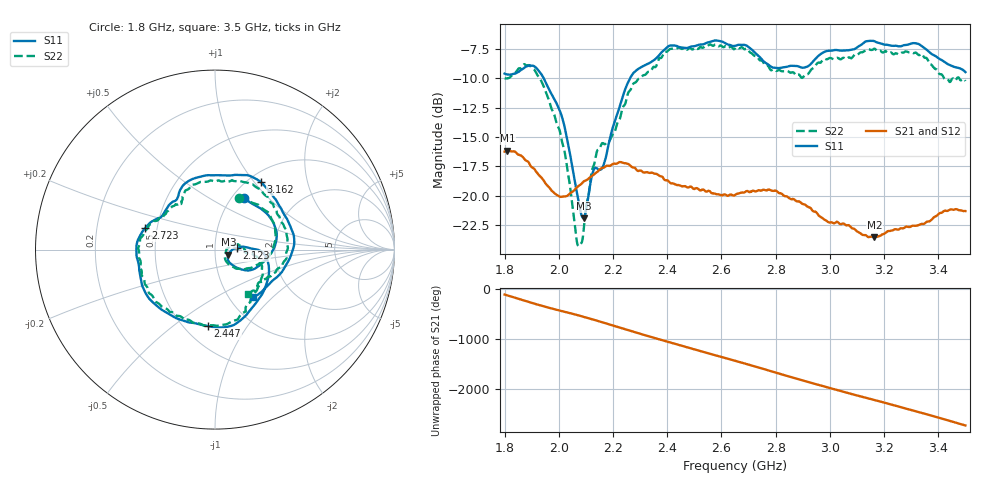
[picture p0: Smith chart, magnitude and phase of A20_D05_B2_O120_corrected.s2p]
! Created with skrf 1.9.0 (http://scikit-rf.org).
# Hz S RI R 50.0
!freq ReS11 ImS11 ReS21 ImS21 ReS12 ImS12 ReS22 ImS22
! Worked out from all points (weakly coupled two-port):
!   1601 points, 1.8 GHz to 3.5 GHz, reference 50 ohm
!   highest |S21| = -16.18 dB at 1.811 GHz (marker M1); lowest = -23.5 dB at 3.164 GHz (marker M2)
!   lowest |S11| = -21.9 dB at 2.091 GHz (marker M3), VSWR 1.17, Z = 58 - j3.33 ohm
!   |S11| at or under -10 dB: 1.944 GHz to 2.263 GHz (318.9 MHz wide, 15.2 % of centre)
!   |S22| runs from -24.3 to -7.1 dB; largest |S21 - S12| = 0.0029
!   S11 on the Smith chart (normalised r, x): 1.8 GHz: 1.13, +0.73; 2.123 GHz: 1.28, +0.02; 2.447 GHz: 0.65, -0.68; 2.723 GHz: 0.43, +0.12; 3.162 GHz: 1.14, +1.08; 3.5 GHz: 1.28, -0.76
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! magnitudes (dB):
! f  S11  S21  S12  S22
! 1.8 GHz  -9.6  -16.2  -16.3  -10.0
! 1.811 GHz  -9.7  -16.2  -16.2  -10.0
! 1.881 GHz  -9.0  -17.0  -17.0  -8.9
! 1.939 GHz  -9.8  -18.5  -18.6  -10.4
! 2.014 GHz  -13.4  -20.1  -20.1  -15.6
! 2.067 GHz  -19.7  -19.3  -19.3  -23.9
! 2.084 GHz  -21.7  -19.0  -18.9  -24.0
! 2.091 GHz  -21.9  -18.8  -18.8  -23.1
! 2.123 GHz  -18.2  -18.3  -18.3  -17.8
! 2.164 GHz  -17.4  -17.6  -17.6  -15.6
! 2.264 GHz  -9.9  -17.5  -17.5  -11.0
! 2.367 GHz  -8.1  -18.2  -18.2  -8.4
! 2.447 GHz  -7.4  -19.1  -19.1  -7.4
! 2.65 GHz  -7.3  -19.9  -19.9  -7.5
! 2.723 GHz  -7.8  -19.6  -19.6  -8.1
! 2.793 GHz  -9.1  -19.6  -19.6  -9.3
! 2.934 GHz  -8.7  -21.2  -21.2  -9.2
! 3.162 GHz  -6.8  -23.5  -23.5  -7.5
! 3.164 GHz  -6.9  -23.5  -23.5  -7.5
! 3.217 GHz  -7.2  -23.0  -23.0  -7.9
! 3.324 GHz  -7.1  -22.5  -22.5  -8.0
! 3.5 GHz  -9.5  -21.3  -21.3  -10.2
